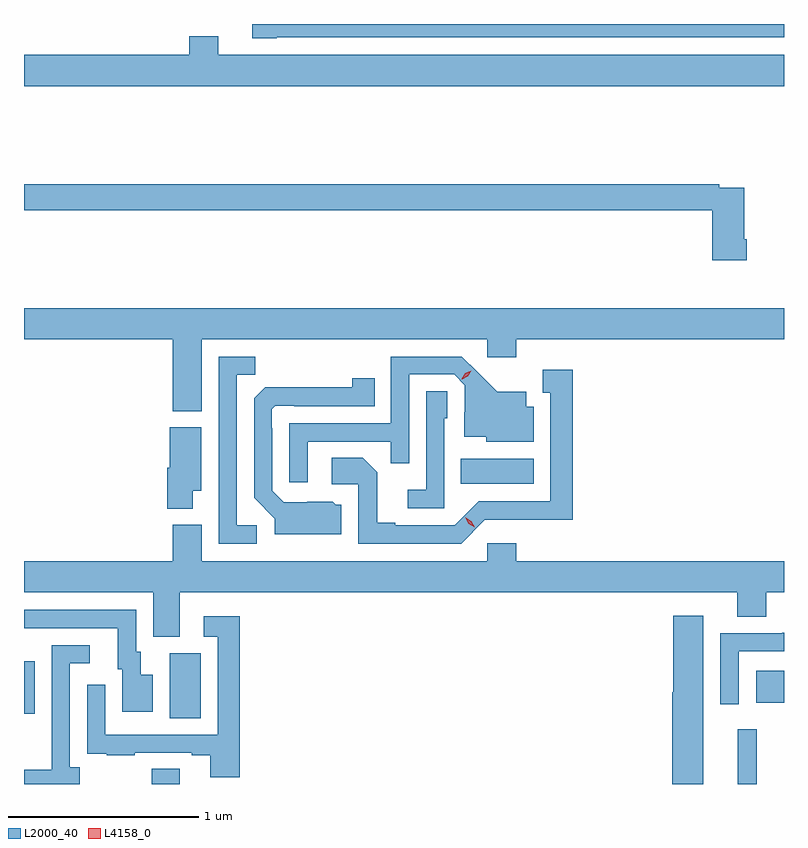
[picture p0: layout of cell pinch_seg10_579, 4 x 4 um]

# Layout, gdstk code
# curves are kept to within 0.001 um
import gdstk
lib = gdstk.Library(unit=1e-6, precision=1e-09)
def R(c, l, rs):  # rectangles x0, y0, x1, y1
    for r in rs: c.add(gdstk.rectangle(r[:2], r[2:], *l))
def P(c, l, *ps):  # polygons
    for p in ps: c.add(gdstk.Polygon(p, *l))
L2000_40 = (2000, 40)
L4158_0 = (4158, 0)

pinch_seg10_579 = lib.new_cell('pinch_seg10_579')
R(pinch_seg10_579, L2000_40, [(361.294,1284.655,361.441,1284.734), (364.379,1284.655,364.478,1284.943), (361.388,1285,361.552,1285.344), (360.622,1285.025,360.679,1285.3), (364.475,1285.082,364.622,1285.252), (362.92,1286.234,363.304,1286.368)])
P(pinch_seg10_579, L2000_40, [(361.953,1288.584),(364.622,1288.584),(364.622,1288.655),(361.823,1288.655),(361.823,1288.58),(361.953,1288.58)],
  [(364.622,1288.492),(361.645,1288.492),(361.645,1288.591),(361.493,1288.591),(361.493,1288.492),(360.622,1288.492),(360.622,1288.328),(364.622,1288.328)],
  [(364.427,1287.523),(364.414,1287.523),(364.414,1287.792),(364.28,1287.792),(364.28,1287.812),(360.622,1287.812),(360.622,1287.676),(364.244,1287.676),(364.244,1287.411),(364.427,1287.411)],
  [(361.558,1286.996),(363.06,1286.996),(363.06,1286.901),(363.212,1286.901),(363.212,1286.996),(364.622,1286.996),(364.622,1287.16),(360.622,1287.16),(360.622,1286.996),(361.406,1286.996),(361.406,1286.618),(361.558,1286.618)],
  [(361.846,1286.016),(361.743,1286.016),(361.743,1286.809),(361.839,1286.809),(361.839,1286.904),(361.647,1286.904),(361.647,1285.92),(361.846,1285.92)],
  [(362.115,1286.457),(362.551,1286.457),(362.551,1286.344),(362.649,1286.344),(362.649,1286.811),(362.886,1286.811),(362.943,1286.754),(362.943,1286.612),(362.939,1286.612),(362.939,1286.483),(363.054,1286.483),(363.054,1286.456),(363.304,1286.456),(363.304,1286.641),(363.265,1286.641),(363.265,1286.719),(363.113,1286.719),(362.926,1286.904),(362.553,1286.904),(362.553,1286.553),(362.019,1286.553),(362.019,1286.244),(362.115,1286.244)],
  [(363.048,1286.046),(363.511,1286.045),(363.511,1286.836),(363.353,1286.836),(363.353,1286.715),(363.392,1286.715),(363.392,1286.142),(363.015,1286.142),(362.889,1286.016),(362.575,1286.016),(362.575,1286.029),(362.481,1286.029),(362.481,1286.296),(362.405,1286.372),(362.241,1286.372),(362.241,1286.232),(362.382,1286.232),(362.382,1285.92),(362.922,1285.92)],
  [(362.293,1286.124),(362.262,1286.124),(362.246,1286.14),(361.989,1286.139),(361.929,1286.199),(361.929,1286.528),(361.926,1286.528),(361.926,1286.628),(361.944,1286.646),(362.044,1286.646),(362.044,1286.643),(362.468,1286.643),(362.468,1286.791),(362.35,1286.791),(362.35,1286.744),(361.892,1286.743),(361.833,1286.684),(361.833,1286.162),(361.943,1286.052),(361.943,1285.97),(362.293,1285.97)],
  [(362.835,1286.58),(362.85,1286.58),(362.85,1286.723),(362.739,1286.723),(362.739,1286.203),(362.643,1286.203),(362.643,1286.106),(362.835,1286.106)],
  [(361.51,1286.198),(361.555,1286.198),(361.555,1286.533),(361.388,1286.533),(361.388,1286.319),(361.376,1286.319),(361.376,1286.105),(361.51,1286.105)],
  [(361.441,1285.664),(364.376,1285.664),(364.376,1285.534),(364.529,1285.534),(364.529,1285.664),(364.622,1285.664),(364.622,1285.828),(363.212,1285.828),(363.212,1285.921),(363.06,1285.921),(363.06,1285.828),(361.558,1285.828),(361.558,1286.02),(361.406,1286.02),(361.406,1285.828),(360.622,1285.828),(360.622,1285.664),(361.301,1285.664),(361.301,1285.429),(361.441,1285.429)],
  [(361.3,1285.231),(361.237,1285.231),(361.237,1285.35),(361.212,1285.35),(361.212,1285.572),(360.622,1285.572),(360.622,1285.476),(361.115,1285.476),(361.115,1285.26),(361.139,1285.26),(361.139,1285.035),(361.3,1285.035)],
  [(364.198,1285.54),(364.04,1285.54),(364.04,1285.137),(364.034,1285.137),(364.034,1284.655),(364.198,1284.655)],
  [(361.757,1285.537),(361.569,1285.537),(361.569,1285.431),(361.641,1285.431),(361.641,1284.915),(361.05,1284.915),(361.05,1285.177),(360.954,1285.177),(360.954,1284.922),(360.955,1284.922),(360.955,1284.813),(361.057,1284.813),(361.057,1284.807),(361.205,1284.807),(361.205,1284.819),(361.505,1284.819),(361.505,1284.807),(361.601,1284.807),(361.601,1284.69),(361.757,1284.69)],
  [(364.383,1285.353),(364.622,1285.353),(364.622,1285.451),(364.612,1285.451),(364.612,1285.449),(364.287,1285.449),(364.287,1285.074),(364.383,1285.074)],
  [(360.916,1284.742),(360.864,1284.742),(360.864,1285.29),(360.967,1285.29),(360.967,1285.386),(360.768,1285.386),(360.768,1284.929),(360.767,1284.929),(360.767,1284.729),(360.622,1284.729),(360.622,1284.655),(360.916,1284.655)])
P(pinch_seg10_579, L4158_0, [(362.994,1286.006),(362.962,1286.026),(362.945,1286.058),(362.945,1286.058),(362.945,1286.058),(362.977,1286.039),(362.994,1286.007),(362.994,1286.006)],
  [(362.927,1286.786),(362.927,1286.787),(362.945,1286.816),(362.975,1286.831),(362.975,1286.831),(362.975,1286.831),(362.958,1286.801),(362.928,1286.786)])

lib.write_gds('pinch_seg10_579.gds')
